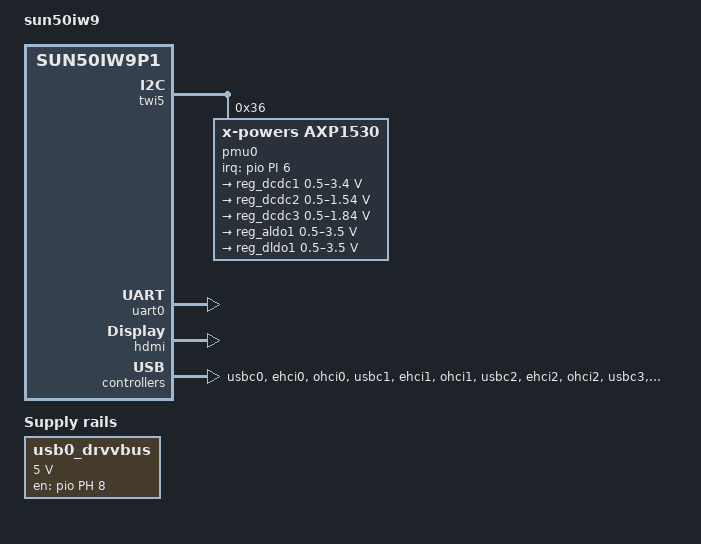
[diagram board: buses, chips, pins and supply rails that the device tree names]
// SPDX-License-Identifier: (GPL-2.0+ or MIT)
/*
 * Copyright (C) 2020 frank@allwinnertech.com
 */

/dts-v1/;

#include <dt-bindings/gpio/sun4i-gpio.h>

#include "sun50iw9.dtsi"

/{
	model = "sun50iw9";
	compatible = "allwinner,h616", "arm,sun50iw9p1";

	aliases {
		serial0 = &uart0;
		disp = &uboot_disp;
		lcd0 = &lcd0;
		standby_param = &standby_param;
		pmu0 = &pmu0;
		hdmi = &hdmi;
		twi0 = &twi0;
		twi1 = &twi1;
		twi2 = &twi2;
		twi3 = &twi3;
		twi4 = &twi4;
		twi5 = &twi5;
	};

	standby_param: standby_param {
		vcc-dram = <0x4>;
	};

	usb0_drvvbus: usb0-drvvvbus {
		compatible = "regulator-fixed";
		regulator-name = "usb0-drvvbus";
		regulator-min-microvolt = <5000000>;
		regulator-max-microvolt = <5000000>;
		regulator-enable-ramp-delay = <1000>;
		gpio = <&pio PH 8 GPIO_ACTIVE_HIGH>;
		enable-active-high;
	};
};

&cpu0 {
	cpu-supply = <&reg_dcdc2>;
};

&twi5 {
	device_type = "twi5";
	no_suspend = <1>;
	status = "okay";

	pmu0: pmu{
		compatible = "x-powers,axp1530";
		reg = <0x36>;
		interrupt-parent = <&pio>;
		interrupts = <PI 6 IRQ_TYPE_LEVEL_LOW>;
		interrupt-controller;
		#interrupt-cells = <1>;
		wakeup-source;

		powerkey0: powerkey@0{
			compatible = "x-powers,axp2101-pek";
			pmu_powkey_off_time = <6000>;
			pmu_powkey_off_func = <0>;
			pmu_powkey_off_en = <1>;
			pmu_powkey_long_time = <1500>;
			pmu_powkey_on_time = <1000>;
			wakeup_rising;
			wakeup_falling;
			status = "okay";
		};

		regulators{
			reg_dcdc1: dcdc1 {
				regulator-name = "axp1530-dcdc1";
				regulator-min-microvolt = <500000>;
				regulator-max-microvolt = <3400000>;
				regulator-step-delay-us = <25>;
				regulator-final-delay-us = <50>;
				regulator-always-on;
			};

			reg_dcdc2: dcdc2 {
				regulator-name = "axp1530-dcdc2";
				regulator-min-microvolt = <500000>;
				regulator-max-microvolt = <1540000>;
				regulator-step-delay-us = <25>;
				regulator-final-delay-us = <50>;
				regulator-ramp-delay = <200>; /* FIXME */
				regulator-always-on;
			};

			reg_dcdc3: dcdc3 {
				regulator-name = "axp1530-dcdc3";
				regulator-min-microvolt = <500000>;
				regulator-max-microvolt = <1840000>;
				regulator-step-delay-us = <25>;
				regulator-final-delay-us = <50>;
				regulator-always-on;
			};

			reg_aldo1: ldo1 {
				regulator-name = "axp1530-aldo1";
				regulator-min-microvolt = <500000>;
				regulator-max-microvolt = <3500000>;
				regulator-step-delay-us = <25>;
				regulator-final-delay-us = <50>;
				regulator-always-on;
			};

			reg_dldo1: ldo2 {
				regulator-name = "axp1530-dldo1";
				regulator-min-microvolt = <500000>;
				regulator-max-microvolt = <3500000>;
				regulator-step-delay-us = <25>;
				regulator-final-delay-us = <50>;
				regulator-always-on;
			};
		};
	};
};

&uart0 {
	pinctrl-names = "default", "sleep";
	pinctrl-0 = <&uart0_ph_pins>;
	pinctrl-1 = <&uart0_ph_sleep>;
	status = "okay";
};

/* For uboot */
&pio {
	sdc0_pins_a: sdc0@0 {
		allwinner,pins = "PF0", "PF1", "PF2",
				 "PF3", "PF4", "PF5";
		allwinner,function = "sdc0";
		allwinner,muxsel = <2>;
		allwinner,drive = <3>;
		allwinner,pull = <1>;
	};

	sdc2_pins_a: sdc2@0 {
		allwinner,pins = "PC1", "PC5", "PC6",
				 "PC8", "PC9", "PC10", "PC11",
				 "PC13", "PC14", "PC15", "PC16";
		allwinner,function = "sdc2";
		allwinner,muxsel = <3>;
		allwinner,drive = <3>;
		allwinner,pull = <1>;
	};

	sdc2_pins_c: sdc2@2 {
				allwinner,pins = "PC0";
				allwinner,function = "sdc2";
				allwinner,muxsel = <3>;
				allwinner,drive = <3>;
				allwinner,pull = <2>;
	};
};

&soc {
	card0_boot_para@2 {
		/* Avoid dtc compiling warnings. */
		reg = <0x0 0x2 0x0 0x0>;
		device_type = "card0_boot_para";
		card_ctrl = <0x0>;
		card_high_speed = <0x1>;
		card_line = <0x4>;
		pinctrl-0 = <&sdc0_pins_a>;
	};

	card2_boot_para@3 {
		/* Avoid dtc compiling warnings. */
		reg = <0x0 0x3 0x0 0x0>;
		device_type = "card2_boot_para";
		card_ctrl = <0x2>;
		card_high_speed = <0x1>;
		card_line = <0x8>;
		pinctrl-0 = <&sdc2_pins_a &sdc2_pins_c>;
		sdc_ex_dly_used = <0x2>;
		sdc_io_1v8 = <0x1>;
		sdc_type = "tm4";
	};

	clk_pll_de: pll_de {
		#clock-cells = <0>;
		compatible = "allwinner,pll-clock";
		assigned-clocks = <&clk_pll_de>;
		assigned-clock-rates = <696000000>;
		lock-mode = "new";
		clock-output-names = "pll_de";
	};

	clk_de: de {
		#clock-cells = <0>;
		compatible = "allwinner,periph-clock";
		assigned-clock-parents = <&clk_pll_de>;
		assigned-clock-rates = <696000000>;
		assigned-clocks = <&clk_de>;
		clock-output-names = "de";
	};

	clk_display_top: display_top {
		#clock-cells = <0>;
		compatible = "allwinner,periph-clock";
		clock-output-names = "display_top";
	};

	clk_tcon_lcd: tcon_lcd {
		#clock-cells = <0>;
		compatible = "allwinner,periph-clock";
		clock-output-names = "tcon_lcd";
	};

	clk_tcon_lcd1: tcon_lcd1 {
		#clock-cells = <0>;
		compatible = "allwinner,periph-clock";
		clock-output-names = "tcon_lcd1";
	};
	clk_tcon_tv: tcon_tv {
		#clock-cells = <0>;
		compatible = "allwinner,periph-clock";
		clock-output-names = "tcon_tv";
	};
	clk_tcon_tv1: tcon_tv1 {
		#clock-cells = <0>;
		compatible = "allwinner,periph-clock";
		clock-output-names = "tcon_tv1";
	};
	clk_lvds: lvds {
		#clock-cells = <0>;
		compatible = "allwinner,periph-clock";
		clock-output-names = "lvds";
		assigned-clocks = <&clk_lvds>;
	};
	clk_hdmi: hdmi {
		#clock-cells = <0>;
		compatible = "allwinner,periph-clock";
		assigned-clocks = <&clk_hdmi>;
		clock-output-names = "hdmi";
	};
	clk_hdmi_slow: hdmi_slow {
		#clock-cells = <0>;
		compatible = "allwinner,periph-clock";
		assigned-clocks = <&clk_hdmi_slow>;
		clock-output-names = "hdmi_slow";
	};
	clk_hdmi_cec: hdmi_cec {
		#clock-cells = <0>;
		compatible = "allwinner,periph-clock";
		assigned-clocks = <&clk_hdmi_cec>;
		clock-output-names = "hdmi_cec";
	};
	clk_hdmi_hdcp: hdmi_hdcp {
		#clock-cells = <0>;
		compatible = "allwinner,periph-clock";
		assigned-clock-parents = <&clk_pll_periph1>;
		assigned-clocks = <&clk_hdmi_hdcp>;
		clock-output-names = "hdmi_hdcp";
	};
	clk_pll_periph1: pll_periph1 {
		#clock-cells = <0>;
		compatible = "allwinner,pll-clock";
		assigned-clocks = <&clk_pll_periph1>;
		assigned-clock-rates = <600000000>;
		lock-mode = "new";
		clock-output-names = "pll_periph1";
	};

	hdmi: hdmi@6000000 {
		compatible = "allwinner,sunxi-hdmi";
		reg = <0x0 0x06000000 0x0 0x100000>;
		interrupts = <GIC_SPI 63 IRQ_TYPE_LEVEL_HIGH>;
		clocks = <&clk_hdmi>, <&clk_hdmi_slow>,
			 <&clk_hdmi_hdcp>, <&clk_hdmi_cec>;
	};

	auto_print@54321 {
		reg = <0x0 0x54321 0x0 0x0>;
		device_type = "auto_print";
		status = "okay";
	};

};

&disp {
	disp_init_enable         = <1>;
	disp_mode                = <0>;

	screen0_output_type      = <1>;
	screen0_output_mode      = <10>;
	screen0_output_format    = <0>;
	screen0_output_bits      = <0>;
	screen0_output_eotf      = <4>;
	screen0_output_cs        = <257>;
	screen0_output_dvi_hdmi  = <2>;
	screen0_output_range     = <2>;
	screen0_output_scan      = <0>;
	screen0_output_aspect_ratio = <8>;

	screen1_output_type      = <0>;
	screen1_output_mode      = <11>;
	screen1_output_format    = <1>;
	screen1_output_bits      = <0>;
	screen1_output_eotf      = <4>;
	screen1_output_cs        = <260>;
	screen1_output_dvi_hdmi  = <0>;
	screen1_output_range     = <2>;
	screen1_output_scan      = <0>;
	screen1_output_aspect_ratio = <8>;
	dev0_output_type         = <4>;
	dev0_output_mode         = <10>;
	dev0_screen_id           = <0>;
	dev0_do_hpd              = <1>;

	dev1_output_type         = <2>;
	dev1_output_mode         = <11>;
	dev1_screen_id           = <1>;
	dev1_do_hpd              = <1>;

	dev2_output_type         = <0>;
	def_output_dev           = <0>;
	hdmi_mode_check          = <1>;

	fb0_format               = <0>;
	fb0_width                = <1280>;
	fb0_height               = <720>;

	fb1_format               = <0>;
	fb1_width                = <0>;
	fb1_height               = <0>;

	chn_cfg_mode             = <1>;

	disp_para_zone           = <1>;
};

&lcd0 {
	lcd_used            = <1>;

	lcd_driver_name     = "default_lcd";
	lcd_backlight       = <50>;
	lcd_if              = <0>;

	lcd_x               = <1280>;
	lcd_y               = <720>;
	lcd_width           = <150>;
	lcd_height          = <94>;
	lcd_dclk_freq       = <70>;

	lcd_pwm_used        = <0>;
	lcd_pwm_ch          = <0>;
	lcd_pwm_freq        = <50000>;
	lcd_pwm_pol         = <0>;
	lcd_pwm_max_limit   = <255>;

	lcd_hbp             = <20>;
	lcd_ht              = <1418>;
	lcd_hspw            = <10>;
	lcd_vbp             = <10>;
	lcd_vt              = <814>;
	lcd_vspw            = <5>;

	lcd_lvds_if         = <0>;
	lcd_lvds_colordepth = <0>;
	lcd_lvds_mode       = <0>;
	lcd_frm             = <0>;
	lcd_hv_clk_phase    = <0>;
	lcd_hv_sync_polarity= <0>;
	lcd_gamma_en        = <0>;
	lcd_bright_curve_en = <0>;
	lcd_cmap_en         = <0>;

	deu_mode            = <0>;
	lcdgamma4iep        = <22>;
	smart_color         = <90>;

	lcd_pin_power = "bldo1";

	lcd_power = "dc1sw";
	/*lcd_bl_en        = <&pio PD 27 1 0 3 1>;*/
	/*pinctrl-0 = <&rgb24_pins_a>;
	pinctrl-1 = <&rgb24_pins_b>;*/
};

&gpu {
	gpu_idle = <1>;
	dvfs_status = <1>;
	operating-points = <
		600000 950000
		576000 950000
		540000 950000
		504000 950000
		456000 950000
		420000 950000
		384000 950000
		360000 950000
		336000 950000
		306000 950000
	>;
};
/*
 *usb_port_type: usb mode. 0-device, 1-host, 2-otg.
 *usb_detect_type: usb hotplug detect mode. 0-none, 1-vbus/id detect, 2-id/dpdm detect.
 *usb_detect_mode: 0-thread scan, 1-id gpio interrupt.
 *usb_id_gpio: gpio for id detect.
 *usb_det_vbus_gpio: gpio for id detect. gpio or "axp_ctrl";
 *usb_wakeup_suspend：0-SUPER_STANDBY, 1-USB_STANDBY.
 */
&usbc0 {
	device_type		= "usbc0";
	usb_port_type		= <0x0>;
	usb_detect_type		= <0x1>;
	usb_detect_mode		= <0x0>;
	usb_id_gpio;
	usb_det_vbus_gpio;
	usb_regulator_io	= "nocare";
	usb_wakeup_suspend	= <0x0>;
	usb_luns		= <0x3>;
	usb_serial_unique	= <0>;
	usb_serial_number	= "20080411";
	status			= "okay";
};

&ehci0 {
	drvvbus-supply		= <&usb0_drvvbus>;
	status			= "okay";
};

&ohci0 {
	drvvbus-supply		= <&usb0_drvvbus>;
	status			= "okay";
};

&usbc1 {
	device_type = "usbc1";
	usb_regulator_io = "nocare";
	usb_wakeup_suspend	= <0x0>;
	status = "okay";
};

&ehci1 {
	drvvbus-supply		= <&usb0_drvvbus>;
	status			= "okay";
};

&ohci1 {
	drvvbus-supply		= <&usb0_drvvbus>;
	status			= "okay";
};

&usbc2 {
	device_type = "usbc2";
	usb_regulator_io = "nocare";
	usb_wakeup_suspend = <0x0>;
	status = "okay";
};

&ehci2 {
	drvvbus-supply		= <&usb0_drvvbus>;
	status			= "okay";
};

&ohci2 {
	drvvbus-supply		= <&usb0_drvvbus>;
	status			= "okay";
};

&usbc3 {
	device_type = "usbc3";
	usb_regulator_io = "nocare";
	usb_wakeup_suspend = <0x0>;
	status = "okay";
};

&ehci3 {
	drvvbus-supply		= <&usb0_drvvbus>;
	status			= "okay";
};

&ohci3 {
	drvvbus-supply		= <&usb0_drvvbus>;
	status			= "okay";
};
